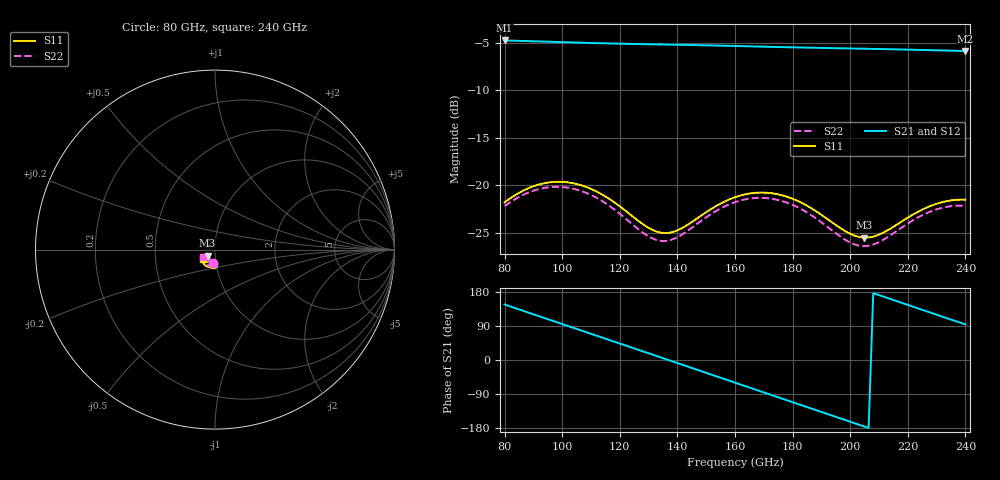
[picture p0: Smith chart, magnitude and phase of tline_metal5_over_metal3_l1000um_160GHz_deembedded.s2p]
! Created with skrf 2.0.1 (http://scikit-rf.org).
# GHz S DB R 50.0
!freq dBS11 angS11 dBS21 angS21 dBS12 angS12 dBS22 angS22
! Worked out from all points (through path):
!   101 points, 80 GHz to 240 GHz, reference 50 ohm
!   highest |S21| = -4.75 dB at 80 GHz (marker M1); lowest = -5.9 dB at 240 GHz (marker M2)
!   group delay of S21, straight-line fit = 7.16 ps
!   lowest |S11| = -25.5 dB at 204.8 GHz (marker M3), VSWR 1.11, Z = 45.9 - j3.05 ohm
!   |S11| at or under -10 dB: start of sweep to end of sweep
!   |S22| runs from -26.4 to -20.2 dB; largest |S21 - S12| = 5.9e-14
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80  -21.80 -96.9  -4.75 146.4  -4.75 146.4  -22.19 -99.9
88  -20.35 -103.7  -4.82 125.8  -4.82 125.8  -20.81 -106.7
94.4  -19.75 -112.3  -4.88 109.3  -4.88 109.3  -20.26 -115.4
100.8  -19.67 -121.7  -4.94 92.8  -4.94 92.8  -20.22 -125.0
107.2  -20.06 -130.8  -5.00 76.3  -5.00 76.3  -20.68 -134.3
113.6  -20.93 -138.4  -5.05 59.9  -5.05 59.9  -21.62 -142.0
121.6  -22.60 -143.5  -5.10 39.3  -5.10 39.3  -23.41 -147.0
128  -24.10 -141.4  -5.14 22.9  -5.14 22.9  -24.99 -144.3
134.4  -25.01 -133.0  -5.18 6.4  -5.18 6.4  -25.88 -134.9
140.8  -24.64 -123.3  -5.21 -10.1  -5.21 -10.1  -25.35 -124.8
147.2  -23.42 -118.9  -5.25 -26.7  -5.25 -26.7  -23.99 -120.9
160  -21.27 -125.6  -5.34 -59.8  -5.34 -59.8  -21.78 -129.1
166.4  -20.82 -132.7  -5.38 -76.3  -5.38 -76.3  -21.36 -136.8
172.8  -20.85 -140.2  -5.43 -92.8  -5.43 -92.8  -21.43 -144.9
179.2  -21.34 -147.2  -5.47 -109.3  -5.47 -109.3  -21.98 -152.3
187.2  -22.56 -153.1  -5.53 -129.9  -5.53 -129.9  -23.30 -158.6
196.8  -24.56 -151.8  -5.58 -154.7  -5.58 -154.7  -25.45 -157.0
204.8  -25.53 -141.2  -5.63 -175.3  -5.63 -175.3  -26.42 -145.3
214.4  -24.50 -129.0  -5.68 159.9  -5.68 159.9  -25.19 -133.0
227.2  -22.27 -130.5  -5.77 126.8  -5.77 126.8  -22.86 -135.7
233.6  -21.68 -135.7  -5.82 110.3  -5.82 110.3  -22.27 -141.6
240  -21.52 -141.8  -5.87 93.7  -5.87 93.7  -22.16 -148.2
